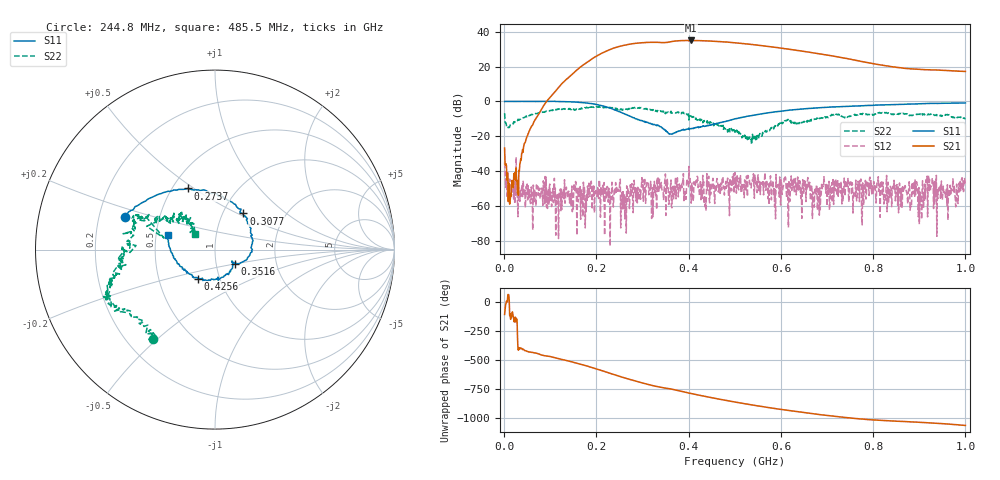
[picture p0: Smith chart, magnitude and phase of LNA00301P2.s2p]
! Created with skrf 1.9.0 (http://scikit-rf.org).
# Hz S RI R 50.0
!freq ReS11 ImS11 ReS21 ImS21 ReS12 ImS12 ReS22 ImS22
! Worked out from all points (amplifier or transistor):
!   1001 points, 1 MHz to 1 GHz, reference 50 ohm
!   highest |S21| = 35.0 dB at 404.6 MHz (marker M1)
!   |S21| within 3 dB of that: 256.4 MHz to 559.5 MHz (303.1 MHz wide, 74.3 % of centre)
!   unconditionally stable (mu >= 1): start of sweep to 84.75 MHz; 206.9 MHz to 298.7 MHz; 298.7 MHz to end of sweep (the widest 3 of 28)
!   at 166.8 MHz: K = 1.03, MAG = 34.0 dB, |S12| = -50.2 dB
!   at 500.5 MHz: K = 1.23, MAG = 34.5 dB, |S12| = -40.9 dB
!   at 1 GHz: K = 3.14, MAG = 24.5 dB, |S12| = -47.6 dB
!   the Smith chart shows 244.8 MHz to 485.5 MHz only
!   S11 on the Smith chart (normalised r, x): 244.8 MHz: 0.31, +0.16; 273.7 MHz: 0.60, +0.47; 307.7 MHz: 1.25, +0.54; 351.6 MHz: 1.24, -0.21; 425.6 MHz: 0.79, -0.26; 485.5 MHz: 0.57, +0.10
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1000000  0.9954 0.00574  -0.0118 -0.0439  -0.0147 0.0092  0.3129 0.3318
1.07893e8  0.5239 -0.847  -0.822 -1.546  0.00215 0.00304  0.4318 -0.384
1.67833e8  -0.2551 -0.8882  -10.25 -0.1951  0.000394 -0.00235  0.0168 -0.6454
2.09791e8  -0.6726 -0.3604  -15.13 17.96  -0.00316 -0.000986  -0.2089 -0.6678
2.44756e8  -0.5032 0.1839  3.138 36.19  -0.000136 -0.00236  -0.3481 -0.4999
2.73727e8  -0.1498 0.3409  28.81 33.36  0.000657 0.00397  -0.5641 -0.3441
3.07693e8  0.1579 0.2012  48.13 10.67  -0.0025 0.00269  -0.5731 -0.1733
3.34666e8  0.1987 -0.0168  48.08 -11.87  -0.00201 0.00117  -0.5215 -0.0417
3.51649e8  0.113 -0.0815  44.24 -21.35  -0.000975 0.0052  -0.475 0.00772
3.72628e8  0.0977 -0.0823  40.87 -35.91  0.00159 7.46e-05  -0.4374 0.1486
4.04596e8  0.00903 -0.1652  18.66 -52.96  0.00216 0.00362  -0.3317 0.1651
4.25575e8  -0.0952 -0.1616  1.906 -55.21  0.00409 0.00355  -0.2329 0.1539
4.53547e8  -0.2028 -0.0785  -18.4 -50.09  0.00296 0.000514  -0.1562 0.1822
4.85515e8  -0.2646 0.0826  -34.76 -35.97  0.00463 -0.00194  -0.1093 0.0855
5.005e8  -0.2684 0.1667  -39.68 -27.71  0.00888 0.00131  -0.1119 0.0656
5.36464e8  -0.1898 0.3383  -42.27 -7.681  -0.00131 -0.00517  -0.0576 -0.0039
5.84416e8  0.0232 0.4925  -34.12 12.35  0.00124 0.00148  -0.1514 -0.0583
6.25375e8  0.2193 0.5282  -22.05 20.73  0.00542 -0.000957  -0.2303 -0.0971
6.67333e8  0.4155 0.4804  -10.26 22.71  -2.5e-05 -0.00295  -0.2977 -0.0344
7.41259e8  0.6483 0.3054  2.893 16.87  -0.0029 -0.0029  -0.3294 0.035
8.34166e8  0.7994 0.0178  6.346 8.029  -0.000203 0.00235  -0.398 0.229
1e9  0.7243 -0.534  7.082 1.463  -0.00234 -0.00344  -0.0374 0.3202
